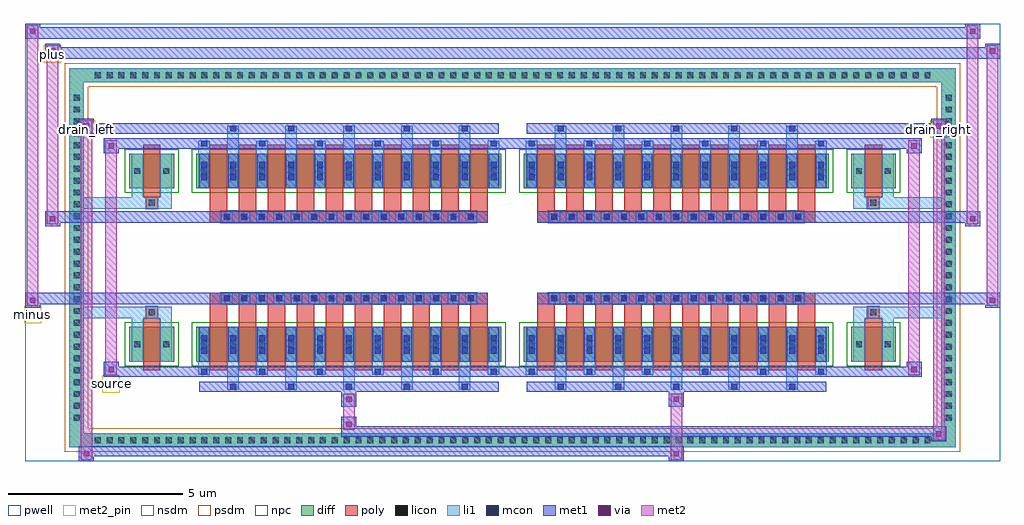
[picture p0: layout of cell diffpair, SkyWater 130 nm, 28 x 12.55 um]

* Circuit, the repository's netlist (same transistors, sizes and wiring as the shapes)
* NGSPICE file created from diffpair.ext - technology: sky130A

.subckt diffpair minus drain_right drain_left source plus
X0 drain_left plus source a_n2542_n1088# sky130_fd_pr__nfet_01v8 ad=0.165 pd=1.33 as=0.165 ps=1.33 w=1 l=0.5
X1 drain_right minus source a_n2542_n1088# sky130_fd_pr__nfet_01v8 ad=0.165 pd=1.33 as=0.165 ps=1.33 w=1 l=0.5
X2 a_n2542_n1088# a_n2542_n1088# a_n2542_n1088# a_n2542_n1088# sky130_fd_pr__nfet_01v8 ad=0.39 pd=2.78 as=3.12 ps=22.24 w=1 l=0.5
X3 source minus drain_right a_n2542_n1088# sky130_fd_pr__nfet_01v8 ad=0.165 pd=1.33 as=0.165 ps=1.33 w=1 l=0.5
X4 drain_right minus source a_n2542_n1088# sky130_fd_pr__nfet_01v8 ad=0.165 pd=1.33 as=0.39 ps=2.78 w=1 l=0.5
X5 source plus drain_left a_n2542_n1088# sky130_fd_pr__nfet_01v8 ad=0.39 pd=2.78 as=0.165 ps=1.33 w=1 l=0.5
X6 source plus drain_left a_n2542_n1088# sky130_fd_pr__nfet_01v8 ad=0.165 pd=1.33 as=0.165 ps=1.33 w=1 l=0.5
X7 source plus drain_left a_n2542_n1088# sky130_fd_pr__nfet_01v8 ad=0.39 pd=2.78 as=0.165 ps=1.33 w=1 l=0.5
X8 source minus drain_right a_n2542_n1088# sky130_fd_pr__nfet_01v8 ad=0.39 pd=2.78 as=0.165 ps=1.33 w=1 l=0.5
X9 drain_right minus source a_n2542_n1088# sky130_fd_pr__nfet_01v8 ad=0.165 pd=1.33 as=0.165 ps=1.33 w=1 l=0.5
X10 source plus drain_left a_n2542_n1088# sky130_fd_pr__nfet_01v8 ad=0.165 pd=1.33 as=0.165 ps=1.33 w=1 l=0.5
X11 drain_right minus source a_n2542_n1088# sky130_fd_pr__nfet_01v8 ad=0.165 pd=1.33 as=0.165 ps=1.33 w=1 l=0.5
X12 drain_right minus source a_n2542_n1088# sky130_fd_pr__nfet_01v8 ad=0.165 pd=1.33 as=0.165 ps=1.33 w=1 l=0.5
X13 source minus drain_right a_n2542_n1088# sky130_fd_pr__nfet_01v8 ad=0.165 pd=1.33 as=0.165 ps=1.33 w=1 l=0.5
X14 a_n2542_n1088# a_n2542_n1088# a_n2542_n1088# a_n2542_n1088# sky130_fd_pr__nfet_01v8 ad=0.39 pd=2.78 as=0 ps=0 w=1 l=0.5
X15 a_n2542_n1088# a_n2542_n1088# a_n2542_n1088# a_n2542_n1088# sky130_fd_pr__nfet_01v8 ad=0.39 pd=2.78 as=0 ps=0 w=1 l=0.5
X16 drain_left plus source a_n2542_n1088# sky130_fd_pr__nfet_01v8 ad=0.165 pd=1.33 as=0.165 ps=1.33 w=1 l=0.5
X17 drain_left plus source a_n2542_n1088# sky130_fd_pr__nfet_01v8 ad=0.165 pd=1.33 as=0.165 ps=1.33 w=1 l=0.5
X18 source minus drain_right a_n2542_n1088# sky130_fd_pr__nfet_01v8 ad=0.39 pd=2.78 as=0.165 ps=1.33 w=1 l=0.5
X19 source plus drain_left a_n2542_n1088# sky130_fd_pr__nfet_01v8 ad=0.165 pd=1.33 as=0.165 ps=1.33 w=1 l=0.5
X20 source minus drain_right a_n2542_n1088# sky130_fd_pr__nfet_01v8 ad=0.165 pd=1.33 as=0.165 ps=1.33 w=1 l=0.5
X21 drain_right minus source a_n2542_n1088# sky130_fd_pr__nfet_01v8 ad=0.165 pd=1.33 as=0.165 ps=1.33 w=1 l=0.5
X22 source minus drain_right a_n2542_n1088# sky130_fd_pr__nfet_01v8 ad=0.165 pd=1.33 as=0.165 ps=1.33 w=1 l=0.5
X23 drain_left plus source a_n2542_n1088# sky130_fd_pr__nfet_01v8 ad=0.165 pd=1.33 as=0.39 ps=2.78 w=1 l=0.5
X24 drain_left plus source a_n2542_n1088# sky130_fd_pr__nfet_01v8 ad=0.165 pd=1.33 as=0.39 ps=2.78 w=1 l=0.5
X25 drain_right minus source a_n2542_n1088# sky130_fd_pr__nfet_01v8 ad=0.165 pd=1.33 as=0.39 ps=2.78 w=1 l=0.5
X26 drain_right minus source a_n2542_n1088# sky130_fd_pr__nfet_01v8 ad=0.165 pd=1.33 as=0.165 ps=1.33 w=1 l=0.5
X27 drain_right minus source a_n2542_n1088# sky130_fd_pr__nfet_01v8 ad=0.165 pd=1.33 as=0.165 ps=1.33 w=1 l=0.5
X28 drain_left plus source a_n2542_n1088# sky130_fd_pr__nfet_01v8 ad=0.165 pd=1.33 as=0.165 ps=1.33 w=1 l=0.5
X29 drain_right minus source a_n2542_n1088# sky130_fd_pr__nfet_01v8 ad=0.165 pd=1.33 as=0.165 ps=1.33 w=1 l=0.5
X30 source minus drain_right a_n2542_n1088# sky130_fd_pr__nfet_01v8 ad=0.165 pd=1.33 as=0.165 ps=1.33 w=1 l=0.5
X31 source plus drain_left a_n2542_n1088# sky130_fd_pr__nfet_01v8 ad=0.165 pd=1.33 as=0.165 ps=1.33 w=1 l=0.5
X32 source plus drain_left a_n2542_n1088# sky130_fd_pr__nfet_01v8 ad=0.165 pd=1.33 as=0.165 ps=1.33 w=1 l=0.5
X33 source minus drain_right a_n2542_n1088# sky130_fd_pr__nfet_01v8 ad=0.165 pd=1.33 as=0.165 ps=1.33 w=1 l=0.5
X34 source plus drain_left a_n2542_n1088# sky130_fd_pr__nfet_01v8 ad=0.165 pd=1.33 as=0.165 ps=1.33 w=1 l=0.5
X35 source plus drain_left a_n2542_n1088# sky130_fd_pr__nfet_01v8 ad=0.165 pd=1.33 as=0.165 ps=1.33 w=1 l=0.5
X36 source minus drain_right a_n2542_n1088# sky130_fd_pr__nfet_01v8 ad=0.165 pd=1.33 as=0.165 ps=1.33 w=1 l=0.5
X37 drain_left plus source a_n2542_n1088# sky130_fd_pr__nfet_01v8 ad=0.165 pd=1.33 as=0.165 ps=1.33 w=1 l=0.5
X38 drain_left plus source a_n2542_n1088# sky130_fd_pr__nfet_01v8 ad=0.165 pd=1.33 as=0.165 ps=1.33 w=1 l=0.5
X39 source plus drain_left a_n2542_n1088# sky130_fd_pr__nfet_01v8 ad=0.165 pd=1.33 as=0.165 ps=1.33 w=1 l=0.5
X40 a_n2542_n1088# a_n2542_n1088# a_n2542_n1088# a_n2542_n1088# sky130_fd_pr__nfet_01v8 ad=0.39 pd=2.78 as=0 ps=0 w=1 l=0.5
X41 source minus drain_right a_n2542_n1088# sky130_fd_pr__nfet_01v8 ad=0.165 pd=1.33 as=0.165 ps=1.33 w=1 l=0.5
X42 drain_left plus source a_n2542_n1088# sky130_fd_pr__nfet_01v8 ad=0.165 pd=1.33 as=0.165 ps=1.33 w=1 l=0.5
X43 drain_left plus source a_n2542_n1088# sky130_fd_pr__nfet_01v8 ad=0.165 pd=1.33 as=0.165 ps=1.33 w=1 l=0.5
.ends

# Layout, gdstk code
import gdstk
lib = gdstk.Library(unit=1e-6, precision=5e-09)
def R(c, l, rs):  # rectangles x0, y0, x1, y1
    for r in rs: c.add(gdstk.rectangle(r[:2], r[2:], *l))
def A(c, l, x, y, w, h, nx, ny, dx, dy):  # array of equal rectangles
    R(c, l, [(x+i*dx, y+j*dy, x+i*dx+w, y+j*dy+h) for i in range(nx) for j in range(ny)])
def P(c, l, *ps):  # polygons
    for p in ps: c.add(gdstk.Polygon(p, *l))
pwell = (64, 44)
diff = (65, 20)
poly = (66, 20)
licon = (66, 44)
li1 = (67, 20)
mcon = (67, 44)
met1 = (68, 20)
via = (68, 44)
met2_pin = (69, 16)
met2 = (69, 20)
nsdm = (93, 44)
psdm = (94, 20)
npc = (95, 20)

diffpair = lib.new_cell('diffpair')
R(diffpair, pwell, [(-13.98,-5.84,13.98,6.71), (-11.3,-4.03,-0.01,-0.805), (0.01,-4.03,11.3,-0.805), (-11.3,0.805,-0.01,4.03), (0.01,0.805,11.3,4.03)])
A(diffpair, diff, -12.105, -5.44, 0.41, 0.41, 71, 2, 0.34, 10.47)
A(diffpair, diff, -12.71, -4.795, 0.41, 0.41, 1, 28, 0, 0.34)
A(diffpair, diff, 12.3, -4.795, 0.41, 0.41, 1, 28, 0, 0.34)
R(diffpair, diff, [(-12.105,-5.44,12.105,-5.03), (-12.71,-4.795,-12.3,4.795), (12.3,-4.795,12.71,4.795), (-10.99,-2.985,-9.71,-1.985), (-9.07,-2.985,-0.32,-1.985), (0.32,-2.985,9.07,-1.985), (9.71,-2.985,10.99,-1.985), (-10.99,1.985,-9.71,2.985), (-9.07,1.985,-0.32,2.985), (0.32,1.985,9.07,2.985), (9.71,1.985,10.99,2.985), (-12.105,5.03,12.105,5.44)])
P(diffpair, diff, [(12.71,5.44),(-12.71,5.44),(-12.71,-5.03),(-12.3,-5.03),(-12.3,5.03),(12.3,5.03),(12.3,-5.03),(-12.3,-5.03),(-12.71,-5.03),(-12.71,-5.44),(12.71,-5.44)])
A(diffpair, poly, -8.68, -3.235, 0.5, 1.5, 10, 2, 0.83, 4.97)
A(diffpair, poly, 0.71, -3.235, 0.5, 1.5, 10, 2, 0.83, 4.97)
A(diffpair, poly, -8.68, -1.735, 0.5, 0.4, 10, 2, 0.83, 3.07)
A(diffpair, poly, 0.71, -1.735, 0.5, 0.4, 10, 2, 0.83, 3.07)
A(diffpair, poly, -8.36, -1.335, 0.33, 0.33, 15, 2, 0.5, 2.34)
A(diffpair, poly, 1.03, -1.335, 0.33, 0.33, 15, 2, 0.5, 2.34)
R(diffpair, poly, [(-10.6,-3.235,-10.1,-1.735), (10.1,-3.235,10.6,-1.735), (-10.515,-1.735,-10.185,-1.405), (-10.515,-1.735,-10.185,-1.405), (10.185,-1.735,10.515,-1.405), (10.185,-1.735,10.515,-1.405), (-8.68,-1.335,-0.71,-1.005), (0.71,-1.335,8.68,-1.005), (-8.68,1.005,-0.71,1.335), (0.71,1.005,8.68,1.335), (-10.515,1.405,-10.185,1.735), (-10.515,1.405,-10.185,1.735), (10.185,1.405,10.515,1.735), (10.185,1.405,10.515,1.735), (-10.6,1.735,-10.1,3.235), (10.1,1.735,10.6,3.235)])
A(diffpair, licon, -11.985, -5.32, 0.17, 0.17, 71, 2, 0.34, 10.47)
A(diffpair, licon, -12.59, -4.675, 0.17, 0.17, 1, 28, 0, 0.34)
A(diffpair, licon, 12.42, -4.675, 0.17, 0.17, 1, 28, 0, 0.34)
A(diffpair, licon, -8.93, -2.57, 0.17, 0.17, 11, 2, 0.83, 4.97)
A(diffpair, licon, 0.46, -2.57, 0.17, 0.17, 11, 2, 0.83, 4.97)
A(diffpair, licon, -8.28, -1.255, 0.17, 0.17, 15, 2, 0.5, 2.34)
A(diffpair, licon, 1.11, -1.255, 0.17, 0.17, 15, 2, 0.5, 2.34)
R(diffpair, licon, [(-10.85,-2.57,-10.68,-2.4), (-10.02,-2.57,-9.85,-2.4), (9.85,-2.57,10.02,-2.4), (10.68,-2.57,10.85,-2.4), (-10.435,-1.655,-10.265,-1.485), (10.265,-1.655,10.435,-1.485), (-10.435,1.485,-10.265,1.655), (10.265,1.485,10.435,1.655), (-10.85,2.4,-10.68,2.57), (-10.02,2.4,-9.85,2.57), (9.85,2.4,10.02,2.57), (10.68,2.4,10.85,2.57)])
A(diffpair, li1, -12.065, -5.4, 0.33, 0.33, 71, 2, 0.34, 10.47)
A(diffpair, li1, -12.67, -4.755, 0.33, 0.33, 1, 28, 0, 0.34)
A(diffpair, li1, 12.34, -4.755, 0.33, 0.33, 1, 28, 0, 0.34)
A(diffpair, li1, -8.18, -3.79, 0.33, 0.805, 5, 2, 1.66, 6.775)
A(diffpair, li1, -8.1, -3.79, 0.17, 0.17, 5, 2, 1.66, 7.41)
A(diffpair, li1, 1.21, -3.79, 0.33, 0.805, 5, 2, 1.66, 6.775)
A(diffpair, li1, 1.29, -3.79, 0.17, 0.17, 5, 2, 1.66, 7.41)
A(diffpair, li1, -9.01, -3.36, 0.33, 0.375, 6, 2, 1.66, 6.345)
A(diffpair, li1, -8.93, -3.36, 0.17, 0.17, 6, 2, 1.66, 6.55)
A(diffpair, li1, 0.38, -3.36, 0.33, 0.375, 6, 2, 1.66, 6.345)
A(diffpair, li1, 0.46, -3.36, 0.17, 0.17, 6, 2, 1.66, 6.55)
A(diffpair, li1, -9.01, -2.985, 0.33, 1, 11, 2, 0.83, 4.97)
A(diffpair, li1, 0.38, -2.985, 0.33, 1, 11, 2, 0.83, 4.97)
A(diffpair, li1, -8.93, -2.75, 0.17, 0.17, 11, 2, 0.83, 0.36)
A(diffpair, li1, -8.93, -2.75, 0.17, 0.53, 11, 2, 0.83, 4.97)
A(diffpair, li1, 0.46, -2.75, 0.17, 0.17, 11, 2, 0.83, 0.36)
A(diffpair, li1, 0.46, -2.75, 0.17, 0.53, 11, 2, 0.83, 4.97)
A(diffpair, li1, -9.01, -2.65, 0.33, 0.33, 11, 2, 0.83, 4.97)
A(diffpair, li1, 0.38, -2.65, 0.33, 0.33, 11, 2, 0.83, 4.97)
A(diffpair, li1, -8.36, -1.335, 0.33, 0.33, 15, 2, 0.5, 2.34)
A(diffpair, li1, 1.03, -1.335, 0.33, 0.33, 15, 2, 0.5, 2.34)
A(diffpair, li1, -8.93, 2.22, 0.17, 0.17, 11, 2, 0.83, 0.36)
A(diffpair, li1, 0.46, 2.22, 0.17, 0.17, 11, 2, 0.83, 0.36)
R(diffpair, li1, [(-12.71,-5.44,-12.3,-5.03), (-12.71,-5.44,-12.3,-5.03), (-12.3,-5.44,12.3,-5.03), (12.3,-5.44,12.71,-5.03), (12.3,-5.44,12.71,-5.03), (-12.71,-5.03,-12.3,5.03), (12.3,-5.03,12.71,5.03), (-10.93,-2.985,-10.6,-1.985), (-10.1,-2.985,-9.77,-1.985), (9.77,-2.985,10.1,-1.985), (10.6,-2.985,10.93,-1.985), (-10.93,-2.65,-10.6,-2.32), (-10.1,-2.65,-9.77,-2.32), (9.77,-2.65,10.1,-2.32), (10.6,-2.65,10.93,-2.32), (-10.93,-1.985,-10.6,-1.405), (-10.1,-1.985,-9.77,-1.405), (9.77,-1.985,10.1,-1.405), (10.6,-1.985,10.93,-1.405), (-12.71,-1.735,-10.515,-1.405), (-10.93,-1.735,-10.515,-1.405), (-10.515,-1.735,-10.185,-1.405), (-10.185,-1.735,-9.77,-1.405), (9.77,-1.735,10.185,-1.405), (10.185,-1.735,10.515,-1.405), (10.185,-1.735,12.71,-1.405), (10.515,-1.735,10.93,-1.405), (-12.71,1.405,-10.515,1.735), (-10.93,1.405,-10.515,1.735), (-10.93,1.405,-10.6,1.985), (-10.515,1.405,-10.185,1.735), (-10.185,1.405,-9.77,1.735), (-10.1,1.405,-9.77,1.985), (9.77,1.405,10.185,1.735), (9.77,1.405,10.1,1.985), (10.185,1.405,10.515,1.735), (10.185,1.405,12.71,1.735), (10.515,1.405,10.93,1.735), (10.6,1.405,10.93,1.985), (-10.93,1.985,-10.6,2.985), (-10.1,1.985,-9.77,2.985), (9.77,1.985,10.1,2.985), (10.6,1.985,10.93,2.985), (-10.93,2.32,-10.6,2.65), (-10.1,2.32,-9.77,2.65), (9.77,2.32,10.1,2.65), (10.6,2.32,10.93,2.65), (-12.71,5.03,-12.3,5.44), (-12.71,5.03,-12.3,5.44), (-12.3,5.03,12.3,5.44), (12.3,5.03,12.71,5.44), (12.3,5.03,12.71,5.44)])
A(diffpair, mcon, -8.1, -3.79, 0.17, 0.17, 5, 2, 1.66, 7.41)
A(diffpair, mcon, 1.29, -3.79, 0.17, 0.17, 5, 2, 1.66, 7.41)
A(diffpair, mcon, -8.93, -3.36, 0.17, 0.17, 6, 2, 1.66, 6.55)
A(diffpair, mcon, 0.46, -3.36, 0.17, 0.17, 6, 2, 1.66, 6.55)
A(diffpair, mcon, -8.93, -2.75, 0.17, 0.17, 11, 2, 0.83, 0.36)
A(diffpair, mcon, 0.46, -2.75, 0.17, 0.17, 11, 2, 0.83, 0.36)
A(diffpair, mcon, -8.28, -1.255, 0.17, 0.17, 15, 2, 0.5, 2.34)
A(diffpair, mcon, 1.11, -1.255, 0.17, 0.17, 15, 2, 0.5, 2.34)
A(diffpair, mcon, -8.93, 2.22, 0.17, 0.17, 11, 2, 0.83, 0.36)
A(diffpair, mcon, 0.46, 2.22, 0.17, 0.17, 11, 2, 0.83, 0.36)
A(diffpair, met1, -8.16, -3.85, 0.29, 0.29, 5, 2, 1.66, 7.41)
A(diffpair, met1, 1.23, -3.85, 0.29, 0.29, 5, 2, 1.66, 7.41)
A(diffpair, met1, -8.99, -3.42, 0.29, 0.29, 6, 2, 1.66, 6.55)
A(diffpair, met1, 0.4, -3.42, 0.29, 0.29, 6, 2, 1.66, 6.55)
A(diffpair, met1, -8.99, -2.985, 0.29, 1, 11, 2, 0.83, 4.97)
A(diffpair, met1, 0.4, -2.985, 0.29, 1, 11, 2, 0.83, 4.97)
A(diffpair, met1, -8.99, -2.81, 0.29, 0.29, 11, 2, 0.83, 0.36)
A(diffpair, met1, 0.4, -2.81, 0.29, 0.29, 11, 2, 0.83, 0.36)
A(diffpair, met1, -8.34, -1.315, 0.29, 0.29, 15, 2, 0.5, 2.34)
A(diffpair, met1, 1.05, -1.315, 0.29, 0.29, 15, 2, 0.5, 2.34)
A(diffpair, met1, -8.99, 2.16, 0.29, 0.29, 11, 2, 0.83, 0.36)
A(diffpair, met1, 0.4, 2.16, 0.29, 0.29, 11, 2, 0.83, 0.36)
R(diffpair, met1, [(-12.44,-5.84,-12.01,-5.41), (4.48,-5.84,4.91,-5.41), (-12.44,-5.7,4.91,-5.41), (12.01,-5.27,12.44,-4.84), (-4.91,-5.13,12.44,-4.84), (-4.91,-4.99,-4.48,-4.56), (-4.91,-4.28,-4.48,-3.85), (4.48,-4.28,4.91,-3.85), (-8.99,-3.85,-0.4,-3.56), (0.4,-3.85,8.99,-3.56), (-11.73,-3.42,-11.3,-2.99), (-11.73,-3.42,-8.99,-3.13), (-8.99,-3.42,-0.4,-3.13), (-0.4,-3.42,0.4,-3.13), (0.4,-3.42,8.99,-3.13), (8.99,-3.42,11.73,-3.13), (11.3,-3.42,11.73,-2.99), (-13.98,-1.435,-13.55,-1.005), (13.55,-1.435,13.98,-1.005), (-13.98,-1.335,-0.71,-1.005), (-8.68,-1.335,-0.71,-1.005), (0.71,-1.335,8.68,-1.005), (0.71,-1.335,13.98,-1.005), (-13.41,0.905,-12.98,1.335), (12.98,0.905,13.41,1.335), (-13.41,1.005,-8.68,1.335), (-8.68,1.005,-0.71,1.335), (0.71,1.005,8.68,1.335), (8.68,1.005,13.41,1.335), (-11.73,2.99,-11.3,3.42), (11.3,2.99,11.73,3.42), (-11.73,3.13,-8.99,3.42), (-8.99,3.13,-0.4,3.42), (-0.4,3.13,0.4,3.42), (0.4,3.13,8.99,3.42), (8.99,3.13,11.73,3.42), (-12.44,3.56,-12.01,3.99), (-12.44,3.56,-8.99,3.85), (-8.99,3.56,-0.4,3.85), (0.4,3.56,8.99,3.85), (8.99,3.56,12.44,3.85), (12.01,3.56,12.44,3.99), (-13.41,5.71,-12.98,6.14), (-13.41,5.71,-11.3,6.04), (-11.3,5.71,11.3,6.04), (11.3,5.71,13.98,6.04), (13.55,5.71,13.98,6.14), (-13.98,6.28,-13.55,6.71), (-13.98,6.28,-11.3,6.61), (-11.3,6.28,11.3,6.61), (11.3,6.28,13.41,6.61), (12.98,6.28,13.41,6.71)])
R(diffpair, via, [(-12.3,-5.7,-12.15,-5.55), (4.62,-5.7,4.77,-5.55), (12.15,-5.13,12.3,-4.98), (-4.77,-4.85,-4.62,-4.7), (-4.77,-4.14,-4.62,-3.99), (4.62,-4.14,4.77,-3.99), (-11.59,-3.28,-11.44,-3.13), (11.44,-3.28,11.59,-3.13), (-13.84,-1.295,-13.69,-1.145), (13.69,-1.295,13.84,-1.145), (-13.27,1.045,-13.12,1.195), (13.12,1.045,13.27,1.195), (-11.59,3.13,-11.44,3.28), (11.44,3.13,11.59,3.28), (-12.3,3.7,-12.15,3.85), (12.15,3.7,12.3,3.85), (-13.27,5.85,-13.12,6), (13.69,5.85,13.84,6), (-13.84,6.42,-13.69,6.57), (13.12,6.42,13.27,6.57)])
R(diffpair, met2_pin, [(-11.765,-3.87,-11.265,-3.37), (-14.015,-1.885,-13.515,-1.385), (-12.475,3.44,-11.975,3.94), (11.975,3.44,12.475,3.94), (-13.445,5.59,-12.945,6.09)])
R(diffpair, met2, [(-12.39,-5.79,-12.06,-5.46), (-12.39,-5.79,-12.06,3.94), (4.53,-5.79,4.86,-5.46), (4.53,-5.46,4.86,-4.23), (12.06,-5.22,12.39,-4.89), (12.06,-5.22,12.39,3.94), (-4.86,-4.94,-4.53,-4.61), (-4.86,-4.61,-4.53,-4.23), (-4.86,-4.23,-4.53,-3.9), (4.53,-4.23,4.86,-3.9), (-11.68,-3.37,-11.35,-3.04), (-11.68,-3.37,-11.35,3.37), (11.35,-3.37,11.68,-3.04), (11.35,-3.37,11.68,3.37), (-13.93,-1.385,-13.6,-1.055), (-13.93,-1.385,-13.6,6.66), (13.6,-1.385,13.93,-1.055), (13.6,-1.385,13.93,6.09), (-13.36,0.955,-13.03,1.285), (-13.36,0.955,-13.03,6.09), (13.03,0.955,13.36,1.285), (13.03,0.955,13.36,6.66), (-11.68,3.04,-11.35,3.37), (11.35,3.04,11.68,3.37), (-12.39,3.61,-12.06,3.94), (12.06,3.61,12.39,3.94), (-13.36,5.76,-13.03,6.09), (13.6,5.76,13.93,6.09), (-13.93,6.33,-13.6,6.66), (13.03,6.33,13.36,6.66)])
P(diffpair, met2, [(13.93,-1.385),(13.93,-1.385),(13.93,-1.055),(13.93,-1.055)],
  [(13.93,5.76),(13.93,5.76),(13.93,6.09),(13.93,6.09)],
  [(-13.6,-1.385),(-13.6,-1.385),(-13.6,-1.055),(-13.6,-1.055)],
  [(-13.6,6.33),(-13.6,6.33),(-13.6,6.66),(-13.6,6.66)],
  [(13.36,0.955),(13.36,0.955),(13.36,1.285),(13.36,1.285)],
  [(13.36,6.33),(13.36,6.33),(13.36,6.66),(13.36,6.66)],
  [(-13.03,0.955),(-13.03,0.955),(-13.03,1.285),(-13.03,1.285)],
  [(-13.03,5.76),(-13.03,5.76),(-13.03,6.09),(-13.03,6.09)],
  [(-12.06,-5.79),(-12.06,-5.79),(-12.06,-5.46),(-12.06,-5.46)],
  [(-12.06,3.61),(-12.06,3.61),(-12.06,3.94),(-12.06,3.94)],
  [(12.39,-5.22),(12.39,-5.22),(12.39,-4.89),(12.39,-4.89)],
  [(12.39,3.61),(12.39,3.61),(12.39,3.94),(12.39,3.94)],
  [(-11.35,-3.37),(-11.35,-3.37),(-11.35,-3.04),(-11.35,-3.04)],
  [(-11.35,3.04),(-11.35,3.04),(-11.35,3.37),(-11.35,3.37)],
  [(11.68,-3.37),(11.68,-3.37),(11.68,-3.04),(11.68,-3.04)],
  [(11.68,3.04),(11.68,3.04),(11.68,3.37),(11.68,3.37)])
R(diffpair, nsdm, [(-11.12,-3.115,-9.58,-1.855), (-9.2,-3.115,-0.19,-1.855), (0.19,-3.115,9.2,-1.855), (9.58,-3.115,11.12,-1.855), (-11.12,1.855,-9.58,3.115), (-9.2,1.855,-0.19,3.115), (0.19,1.855,9.2,3.115), (9.58,1.855,11.12,3.115)])
P(diffpair, psdm, [(12.84,5.57),(-12.84,5.57),(-12.84,-4.9),(-12.17,-4.9),(-12.17,4.9),(12.17,4.9),(12.17,-4.9),(-12.17,-4.9),(-12.84,-4.9),(-12.84,-5.57),(12.84,-5.57)])
A(diffpair, npc, -8.38, -1.355, 0.37, 0.37, 15, 2, 0.5, 2.34)
A(diffpair, npc, 1.01, -1.355, 0.37, 0.37, 15, 2, 0.5, 2.34)
R(diffpair, npc, [(-10.535,-1.755,-10.165,-1.385), (10.165,-1.755,10.535,-1.385), (-8.38,-1.355,-7.51,-0.985), (-8.38,-1.355,-7.51,-0.985), (-7.88,-1.355,-7.01,-0.985), (-7.88,-1.355,-7.01,-0.985), (-7.38,-1.355,-6.51,-0.985), (-7.38,-1.355,-6.51,-0.985), (-6.88,-1.355,-6.01,-0.985), (-6.88,-1.355,-6.01,-0.985), (-6.38,-1.355,-5.51,-0.985), (-6.38,-1.355,-5.51,-0.985), (-5.88,-1.355,-5.01,-0.985), (-5.88,-1.355,-5.01,-0.985), (-5.38,-1.355,-4.51,-0.985), (-5.38,-1.355,-4.51,-0.985), (-4.88,-1.355,-4.01,-0.985), (-4.88,-1.355,-4.01,-0.985), (-4.38,-1.355,-3.51,-0.985), (-4.38,-1.355,-3.51,-0.985), (-3.88,-1.355,-3.01,-0.985), (-3.88,-1.355,-3.01,-0.985), (-3.38,-1.355,-2.51,-0.985), (-3.38,-1.355,-2.51,-0.985), (-2.88,-1.355,-2.01,-0.985), (-2.88,-1.355,-2.01,-0.985), (-2.38,-1.355,-1.51,-0.985), (-2.38,-1.355,-1.51,-0.985), (-1.88,-1.355,-1.01,-0.985), (-1.88,-1.355,-1.01,-0.985), (1.01,-1.355,1.88,-0.985), (1.01,-1.355,1.88,-0.985), (1.51,-1.355,2.38,-0.985), (1.51,-1.355,2.38,-0.985), (2.01,-1.355,2.88,-0.985), (2.01,-1.355,2.88,-0.985), (2.51,-1.355,3.38,-0.985), (2.51,-1.355,3.38,-0.985), (3.01,-1.355,3.88,-0.985), (3.01,-1.355,3.88,-0.985), (3.51,-1.355,4.38,-0.985), (3.51,-1.355,4.38,-0.985), (4.01,-1.355,4.88,-0.985), (4.01,-1.355,4.88,-0.985), (4.51,-1.355,5.38,-0.985), (4.51,-1.355,5.38,-0.985), (5.01,-1.355,5.88,-0.985), (5.01,-1.355,5.88,-0.985), (5.51,-1.355,6.38,-0.985), (5.51,-1.355,6.38,-0.985), (6.01,-1.355,6.88,-0.985), (6.01,-1.355,6.88,-0.985), (6.51,-1.355,7.38,-0.985), (6.51,-1.355,7.38,-0.985), (7.01,-1.355,7.88,-0.985), (7.01,-1.355,7.88,-0.985), (7.51,-1.355,8.38,-0.985), (7.51,-1.355,8.38,-0.985), (-8.38,0.985,-7.51,1.355), (-8.38,0.985,-7.51,1.355), (-7.88,0.985,-7.01,1.355), (-7.88,0.985,-7.01,1.355), (-7.38,0.985,-6.51,1.355), (-7.38,0.985,-6.51,1.355), (-6.88,0.985,-6.01,1.355), (-6.88,0.985,-6.01,1.355), (-6.38,0.985,-5.51,1.355), (-6.38,0.985,-5.51,1.355), (-5.88,0.985,-5.01,1.355), (-5.88,0.985,-5.01,1.355), (-5.38,0.985,-4.51,1.355), (-5.38,0.985,-4.51,1.355), (-4.88,0.985,-4.01,1.355), (-4.88,0.985,-4.01,1.355), (-4.38,0.985,-3.51,1.355), (-4.38,0.985,-3.51,1.355), (-3.88,0.985,-3.01,1.355), (-3.88,0.985,-3.01,1.355), (-3.38,0.985,-2.51,1.355), (-3.38,0.985,-2.51,1.355), (-2.88,0.985,-2.01,1.355), (-2.88,0.985,-2.01,1.355), (-2.38,0.985,-1.51,1.355), (-2.38,0.985,-1.51,1.355), (-1.88,0.985,-1.01,1.355), (-1.88,0.985,-1.01,1.355), (1.01,0.985,1.88,1.355), (1.01,0.985,1.88,1.355), (1.51,0.985,2.38,1.355), (1.51,0.985,2.38,1.355), (2.01,0.985,2.88,1.355), (2.01,0.985,2.88,1.355), (2.51,0.985,3.38,1.355), (2.51,0.985,3.38,1.355), (3.01,0.985,3.88,1.355), (3.01,0.985,3.88,1.355), (3.51,0.985,4.38,1.355), (3.51,0.985,4.38,1.355), (4.01,0.985,4.88,1.355), (4.01,0.985,4.88,1.355), (4.51,0.985,5.38,1.355), (4.51,0.985,5.38,1.355), (5.01,0.985,5.88,1.355), (5.01,0.985,5.88,1.355), (5.51,0.985,6.38,1.355), (5.51,0.985,6.38,1.355), (6.01,0.985,6.88,1.355), (6.01,0.985,6.88,1.355), (6.51,0.985,7.38,1.355), (6.51,0.985,7.38,1.355), (7.01,0.985,7.88,1.355), (7.01,0.985,7.88,1.355), (7.51,0.985,8.38,1.355), (7.51,0.985,8.38,1.355), (-10.535,1.385,-10.165,1.755), (10.165,1.385,10.535,1.755)])
diffpair.add(gdstk.Label('minus', (-13.765,-1.635), layer=69, texttype=5))
diffpair.add(gdstk.Label('drain_right', (12.225,3.69), layer=69, texttype=5))
diffpair.add(gdstk.Label('drain_left', (-12.225,3.69), layer=69, texttype=5))
diffpair.add(gdstk.Label('source', (-11.515,-3.62), layer=69, texttype=5))
diffpair.add(gdstk.Label('plus', (-13.195,5.84), layer=69, texttype=5))

lib.write_gds('diffpair.gds')
